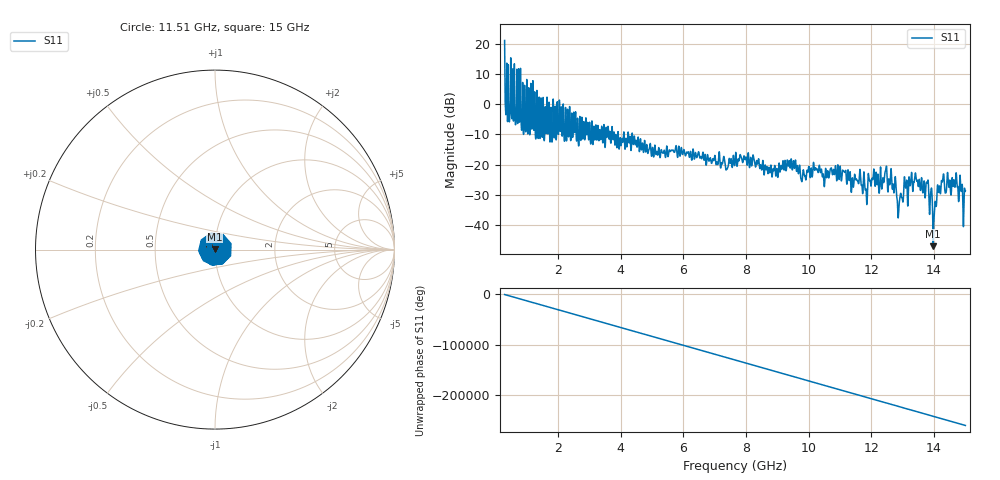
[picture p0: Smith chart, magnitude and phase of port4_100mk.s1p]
# GHZ S RI R 50.0
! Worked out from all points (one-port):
!   12801 points, 300 MHz to 15 GHz, reference 50 ohm
!   lowest |S11| = -46.8 dB at 13.97 GHz (marker M1), VSWR 1.01, Z = 49.8 + j0.422 ohm
!   |S11| at or under -10 dB: 3.925 GHz to 4.095 GHz (169.7 MHz wide, 4.23 % of centre); 4.111 GHz to 4.231 GHz (119.4 MHz wide, 2.86 % of centre); 4.376 GHz to end of sweep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
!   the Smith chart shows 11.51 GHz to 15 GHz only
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0.3  -10.25 -4.588
0.3746484  1.548 -1.25
0.3780938  -0.3173 -1.237
0.4182891  -2.972 -3.322
0.4240313  0.3703 1.618
0.4917891  -1.504 3.023
0.7490391  -0.0434 1.389
0.9075234  -0.2071 -0.2457
2.1375  0.2198 0.1994
3.975  -0.0299 -0.2376
5.8125  -0.0828 0.1059
7.65  0.0413 -0.0991
8.963812  0.000469 0.0691
9.4875  -0.0841 -0.0116
9.810211  -0.0653 0.0223
10.20872  0.0548 -0.0669
11.325  0.0476 0.0587
11.8039  -0.0319 0.0218
12.43324  -0.0593 0.0439
12.87424  -0.0112 -0.0141
13.1625  -0.00288 0.0207
13.41056  0.0103 0.071
13.7505  -0.0508 0.00566
13.97215  -0.00166 0.00423
14.02268  0.00183 -0.0203
14.27534  -0.0322 0.0456
14.64858  0.0354 0.0311
15  0.0354 -0.0114
